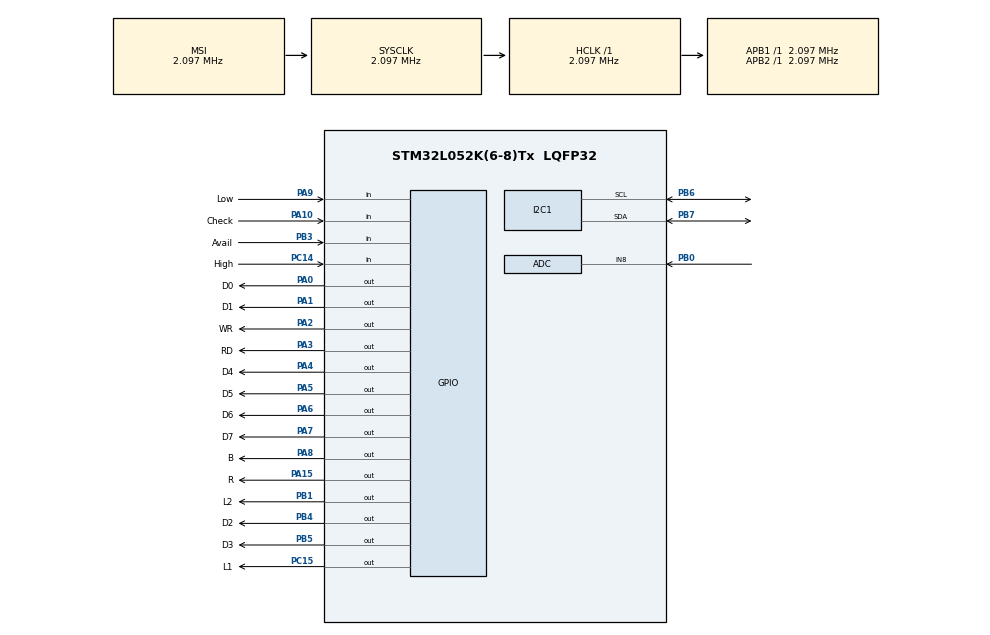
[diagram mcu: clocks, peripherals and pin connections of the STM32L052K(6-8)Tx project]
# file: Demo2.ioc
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ADC.ClockPrescaler=ADC_CLOCK_SYNC_PCLK_DIV1
ADC.ContinuousConvMode=DISABLE
ADC.DMAContinuousRequests=DISABLE
ADC.DataAlign=ADC_DATAALIGN_RIGHT
ADC.DiscontinuousConvMode=DISABLE
ADC.EOCSelection=ADC_EOC_SINGLE_CONV
ADC.EnableAnalogWatchDog=false
ADC.ExternalTrigConv=ADC_SOFTWARE_START
ADC.ExternalTrigConvEdge=ADC_EXTERNALTRIGCONVEDGE_NONE
ADC.LowPowerAutoPowerOff=DISABLE
ADC.LowPowerAutoWait=DISABLE
ADC.LowPowerFrequencyMode=DISABLE
ADC.Overrun=ADC_OVR_DATA_PRESERVED
ADC.OversamplingMode=DISABLE
ADC.Resolution=ADC_RESOLUTION_12B
ADC.SamplingTime=ADC_SAMPLETIME_1CYCLE_5
ADC.ScanConvMode=ADC_SCAN_DIRECTION_FORWARD
Mcu.Family=STM32L0
Mcu.Name=STM32L052K(6-8)Tx
Mcu.Package=LQFP32
PA0.GPIO_Label=D0
PA0.Signal=GPIO_Output
PA1.GPIO_Label=D1
PA1.Signal=GPIO_Output
PA10.GPIO_Label=Check
PA10.Signal=GPIO_Input
PA15.GPIO_Label=R
PA15.Signal=GPIO_Output
PA2.GPIO_Label=WR
PA2.Signal=GPIO_Output
PA3.GPIO_Label=RD
PA3.Signal=GPIO_Output
PA4.GPIO_Label=D4
PA4.Signal=GPIO_Output
PA5.GPIO_Label=D5
PA5.Signal=GPIO_Output
PA6.GPIO_Label=D6
PA6.Signal=GPIO_Output
PA7.GPIO_Label=D7
PA7.Signal=GPIO_Output
PA8.GPIO_Label=B
PA8.Signal=GPIO_Output
PA9.GPIO_Label=Low
PA9.Signal=GPIO_Input
PB0.Mode=IN8
PB0.Signal=ADC_IN8
PB1.GPIO_Label=L2
PB1.Signal=GPIO_Output
PB3.GPIO_Label=Avail
PB3.Signal=GPIO_Input
PB4.GPIO_Label=D2
PB4.Signal=GPIO_Output
PB5.GPIO_Label=D3
PB5.Signal=GPIO_Output
PB6.Mode=I2C
PB6.Signal=I2C1_SCL
PB7.Mode=I2C
PB7.Signal=I2C1_SDA
PC14-OSC32_IN.GPIO_Label=High
PC14-OSC32_IN.Signal=GPIO_Input
PC15-OSC32_OUT.GPIO_Label=L1
PC15-OSC32_OUT.Signal=GPIO_Output
ProjectManager.HeapSize=0x200
ProjectManager.StackSize=0x400
ProjectManager.TargetToolchain=MDK-ARM V5
RCC.AHBFreq_Value=2097000
RCC.APB1Freq_Value=2097000
RCC.APB1TimFreq_Value=2097000
RCC.APB2Freq_Value=2097000
RCC.APB2TimFreq_Value=2097000
RCC.HSI16_VALUE=16000000
RCC.HSI48_VALUE=48000000
RCC.HSI_VALUE=16000000
RCC.LSE_VALUE=32768
RCC.MSI_VALUE=2097000
RCC.SYSCLKFreq_VALUE=2097000
RCC.VCOOutputFreq_Value=48000000
board=Demo2

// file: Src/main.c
/**
  ******************************************************************************
  * File Name          : main.c
  * Description        : Main program body
  ******************************************************************************
  ** This notice applies to any and all portions of this file
  * that are not between comment pairs USER CODE BEGIN and
  * USER CODE END. Other portions of this file, whether
  * inserted by the user or by software development tools
  * are owned by their respective copyright owners.
  *
  * COPYRIGHT(c) 2017 STMicroelectronics
  *
  * Redistribution and use in source and binary forms, with or without modification,
  * are permitted provided that the following conditions are met:
  *   1. Redistributions of source code must retain the above copyright notice,
  *      this list of conditions and the following disclaimer.
  *   2. Redistributions in binary form must reproduce the above copyright notice,
  *      this list of conditions and the following disclaimer in the documentation
  *      and/or other materials provided with the distribution.
  *   3. Neither the name of STMicroelectronics nor the names of its contributors
  *      may be used to endorse or promote products derived from this software
  *      without specific prior written permission.
  *
  * THIS SOFTWARE IS PROVIDED BY THE COPYRIGHT HOLDERS AND CONTRIBUTORS "AS IS"
  * AND ANY EXPRESS OR IMPLIED WARRANTIES, INCLUDING, BUT NOT LIMITED TO, THE
  * IMPLIED WARRANTIES OF MERCHANTABILITY AND FITNESS FOR A PARTICULAR PURPOSE ARE
  * DISCLAIMED. IN NO EVENT SHALL THE COPYRIGHT HOLDER OR CONTRIBUTORS BE LIABLE
  * FOR ANY DIRECT, INDIRECT, INCIDENTAL, SPECIAL, EXEMPLARY, OR CONSEQUENTIAL
  * DAMAGES (INCLUDING, BUT NOT LIMITED TO, PROCUREMENT OF SUBSTITUTE GOODS OR
  * SERVICES; LOSS OF USE, DATA, OR PROFITS; OR BUSINESS INTERRUPTION) HOWEVER
  * CAUSED AND ON ANY THEORY OF LIABILITY, WHETHER IN CONTRACT, STRICT LIABILITY,
  * OR TORT (INCLUDING NEGLIGENCE OR OTHERWISE) ARISING IN ANY WAY OUT OF THE USE
  * OF THIS SOFTWARE, EVEN IF ADVISED OF THE POSSIBILITY OF SUCH DAMAGE.
  *
  ******************************************************************************
  */
#include "main.h"
#include "stm32l0xx_hal.h"

/* USER CODE BEGIN Includes */
#define NORITAKE_VFD_HEIGHT             64
#define NORITAKE_VFD_LINES              8

#define RTC_WRITE		(0xD0)
#define RTC_READ		(0xD1)

#define RTC_SEC			(0x00)
#define RTC_MIN			(0x01)
#define RTC_HOUR		(0x02)
#define RTC_DAY			(0x03)
#define RTC_DATE		(0x04)
#define RTC_MONTH		(0x05)
#define RTC_YEAR		(0x06)
#define RTC_CONTROL	(0x07)

typedef struct
{
  uint8_t sec;
  uint8_t min;
  uint8_t hour;
	unsigned char format;
	unsigned char ampm;
  uint8_t day;
  uint8_t date;
  uint8_t month;
  uint8_t year;
}rtc_t;
/* USER CODE END Includes */

ADC_HandleTypeDef hadc;

I2C_HandleTypeDef hi2c1;

/* USER CODE BEGIN PV */
/* Private variables ---------------------------------------------------------*/
rtc_t DS1307;
/* USER CODE END PV */

void SystemClock_Config(void);
static void MX_GPIO_Init(void);
static void MX_I2C1_Init(void);
static void MX_ADC_Init(void);

/* USER CODE BEGIN PFP */
/* Private function prototypes -----------------------------------------------*/

void VFD_init(void);
void VFD_writePort(uint8_t);
void VFD_cmd(uint8_t);
void VFD_writeLine(char*);
void VFD_write(uint8_t);
void VFD_drawImageRom(unsigned, unsigned char, const unsigned char*);
void VFD_moveCursor(unsigned char, unsigned char);
void VFD_clrscr(void);
void VFD_home(void);
void VFD_scrollScreen(unsigned, unsigned, unsigned, unsigned char);

unsigned char RTC_get_SEC(void);
unsigned char RTC_get_MIN(void);
unsigned char RTC_get_HOUR(void);

unsigned char RTC_get_FORMAT(void);
unsigned char RTC_get_AMPM(void);

unsigned char RTC_get_DAY(void);
unsigned char RTC_get_DATE(void);
unsigned char RTC_get_MONTH(void);
unsigned char RTC_get_YEAR(void);
void RTC_init(void);

void RTC_set_SEC(uint8_t);
void RTC_set_MIN(uint8_t);
void RTC_set_HOUR(uint8_t, unsigned char, unsigned char);
void RTC_set_AMPM(unsigned char);
void RTC_set_DAY(uint8_t);
void RTC_set_DATE(uint8_t);
void RTC_set_MONTH(uint8_t);
void RTC_set_YEAR(uint8_t);

void RTC_i2c_write(I2C_HandleTypeDef *hi2c, uint16_t DevAddress, uint8_t MemAddress, uint8_t *pData);
void RTC_i2c_read(I2C_HandleTypeDef *hi2c, uint16_t DevAddress, uint8_t MemAddress, uint8_t *pData);

void project_displayTime(void);
void project_displayDay(void);
void project_displayDate(void);
/* USER CODE END PFP */

/* USER CODE BEGIN 0 */
unsigned char img[1024]=
{
	0x00, 0x00, 0x00, 0x00, 0x00, 0x00, 0x00, 0xFF, //                                                         ########
	0x00, 0x00, 0x00, 0x00, 0x00, 0x00, 0x00, 0xFF, //                                                         ########
	0x00, 0x00, 0x00, 0x00, 0x00, 0x00, 0x00, 0xFF, //                                                         ########
	0x00, 0x00, 0x00, 0x00, 0x00, 0x00, 0x00, 0xFF, //                                                         ########
	0x00, 0x00, 0x00, 0x00, 0x00, 0x00, 0x00, 0xFF, //                                                         ########
	0x00, 0x00, 0x00, 0x00, 0x00, 0x00, 0x00, 0xFF, //                                                         ########
	0x00, 0x00, 0x00, 0x00, 0x00, 0x00, 0x00, 0xFF, //                                                         ########
	0x00, 0x00, 0x00, 0x00, 0x00, 0x00, 0x00, 0xFF, //                                                         ########
	0x00, 0x00, 0x00, 0x00, 0x00, 0x00, 0x00, 0xFF, //                                                         ########
	0x00, 0x00, 0x00, 0x00, 0x00, 0x00, 0x00, 0xFF, //                                                         ########
	0x00, 0x00, 0x00, 0x00, 0x00, 0x00, 0x00, 0xFF, //                                                         ########
	0x00, 0x00, 0x00, 0x00, 0x00, 0x00, 0x00, 0xFF, //                                                         ########
	0x00, 0x00, 0x00, 0x00, 0x00, 0x00, 0x00, 0xFF, //                                                         ########
	0x00, 0x00, 0x00, 0x00, 0x00, 0x00, 0x00, 0xFF, //                                                         ########
	0x00, 0x00, 0x00, 0x00, 0x00, 0x00, 0x00, 0xFF, //                                                         ########
	0x00, 0x00, 0x00, 0x00, 0x00, 0x00, 0x00, 0xFF, //                                                         ########
	0x00, 0x00, 0x00, 0x00, 0x00, 0x00, 0x00, 0xFF, //                                                         ########
	0x00, 0x00, 0x00, 0x00, 0x00, 0x00, 0x00, 0xFF, //                                                         ########
	0x00, 0x00, 0x00, 0x00, 0x00, 0x00, 0x00, 0xFF, //                                                         ########
	0x00, 0x00, 0x00, 0x00, 0x00, 0x00, 0x00, 0xFF, //                                                         ########
	0x00, 0x00, 0x00, 0x00, 0x00, 0x02, 0x00, 0xFF, //                                               #         ########
	0x00, 0x00, 0x00, 0x00, 0x00, 0x03, 0xC0, 0xFF, //                                               ####      ########
	0x00, 0x00, 0x00, 0x00, 0x00, 0x00, 0x78, 0xFF, //                                                  ####   ########
	0x00, 0x00, 0x00, 0x00, 0x00, 0x00, 0x07, 0xFF, //                                                      ###########
	0x00, 0x00, 0x00, 0x00, 0x00, 0x00, 0x03, 0xFF, //                                                       ##########
	0x00, 0x00, 0x00, 0x00, 0x00, 0x00, 0x3C, 0xFF, //                                                   ####  ########
	0x00, 0x00, 0x00, 0x00, 0x00, 0x01, 0xE0, 0xFF, //                                                ####     ########
	0x00, 0x00, 0x00, 0x00, 0x00, 0x03, 0x00, 0xFF, //                                               ##        ########
	0x00, 0x00, 0x00, 0x00, 0x00, 0x03, 0x80, 0xFF, //                                               ###       ########
	0x00, 0x00, 0x00, 0x00, 0x00, 0x00, 0x70, 0xFF, //                                                  ###    ########
	0x00, 0x00, 0x00, 0x00, 0x00, 0x00, 0x0F, 0xFF, //                                                     ############
	0x00, 0x00, 0x00, 0x00, 0x00, 0x00, 0x03, 0xFF, //                                                       ##########
	0x00, 0x00, 0x00, 0x00, 0x00, 0x00, 0x1E, 0xFF, //                                                    #### ########
	0x00, 0x00, 0x00, 0x00, 0x00, 0x00, 0xF0, 0xFF, //                                                 ####    ########
	0x00, 0x00, 0x00, 0x00, 0x00, 0x03, 0x80, 0xFF, //                                               ###       ########
	0x00, 0x00, 0x00, 0x00, 0x00, 0x00, 0x20, 0xFF, //                                                   #     ########
	0x00, 0x00, 0x00, 0x00, 0x00, 0x01, 0xFC, 0xFF, //                                                #######  ########
	0x00, 0x00, 0x00, 0x00, 0x00, 0x03, 0x06, 0xFF, //                                               ##     ## ########
	0x00, 0x00, 0x00, 0x00, 0x00, 0x02, 0x03, 0xFF, //                                               #       ##########
	0x00, 0x00, 0x00, 0x00, 0x00, 0x06, 0x01, 0xFF, //                                              ##        #########
	0x00, 0x00, 0x00, 0x00, 0x00, 0x06, 0x01, 0xFF, //                                              ##        #########
	0x00, 0x00, 0x00, 0x00, 0x00, 0x02, 0x01, 0xFF, //                                               #        #########
	0x00, 0x00, 0x00, 0x00, 0x00, 0x02, 0x03, 0xFF, //                                               #       ##########
	0x00, 0x00, 0x00, 0x00, 0x00, 0x01, 0x8E, 0xFF, //                                                ##   ### ########
	0x00, 0x00, 0x00, 0x00, 0x00, 0x00, 0xFC, 0xFF, //                                                 ######  ########
	0x00, 0x00, 0x00, 0x00, 0x00, 0x00, 0x00, 0xFF, //                                                         ########
	0x00, 0x00, 0x00, 0x00, 0x00, 0x00, 0x00, 0xFF, //                                                         ########
	0x00, 0x00, 0x00, 0x00, 0x00, 0x03, 0xFF, 0xFF, //                                               ##################
	0x00, 0x00, 0x00, 0x00, 0x00, 0x03, 0x00, 0xFF, //                                               ##        ########
	0x00, 0x00, 0x00, 0x00, 0x00, 0x02, 0x00, 0xFF, //                                               #         ########
	0x00, 0x00, 0x00, 0x00, 0x00, 0x06, 0x00, 0xFF, //                                              ##         ########
	0x00, 0x00, 0x00, 0x00, 0x00, 0x00, 0x00, 0xFF, //                                                         ########
	0x00, 0x00, 0x00, 0x00, 0x00, 0x00, 0x00, 0xFF, //                                                         ########
	0x00, 0x00, 0x00, 0x00, 0x00, 0x7F, 0xFF, 0xFF, //                                          #######################
	0x00, 0x00, 0x00, 0x00, 0x00, 0x00, 0x00, 0xFF, //                                                         ########
	0x00, 0x00, 0x00, 0x00, 0x00, 0x00, 0xF8, 0xFF, //                                                 #####   ########
	0x00, 0x00, 0x00, 0x00, 0x00, 0x01, 0xFE, 0xFF, //                                                ######## ########
	0x00, 0x00, 0x00, 0x00, 0x00, 0x02, 0x03, 0xFF, //                                               #       ##########
	0x00, 0x00, 0x00, 0x00, 0x00, 0x06, 0x01, 0xFF, //                                              ##        #########
	0x00, 0x00, 0x00, 0x00, 0x00, 0x04, 0x01, 0xFF, //                                              #         #########
	0x00, 0x00, 0x00, 0x00, 0x00, 0x02, 0x01, 0xFF, //                                               #        #########
	0x00, 0x00, 0x00, 0x00, 0x00, 0x02, 0x03, 0xFF, //                                               #       ##########
	0x00, 0x00, 0x00, 0x00, 0x00, 0x01, 0x8E, 0xFF, //                                                ##   ### ########
	0x00, 0x00, 0x00, 0x00, 0x00, 0x7F, 0xFF, 0xFF, //                                          #######################
	0x00, 0x00, 0x00, 0x00, 0x00, 0x00, 0x00, 0xFF, //                                                         ########
	0x00, 0x00, 0x00, 0x00, 0x00, 0x00, 0x00, 0xFF, //                                                         ########
	0x00, 0x00, 0x00, 0x00, 0x00, 0x00, 0x00, 0xFF, //                                                         ########
	0x00, 0x00, 0x00, 0x00, 0x00, 0x00, 0x00, 0xFF, //                                                         ########
	0x00, 0x00, 0x00, 0x00, 0x00, 0x03, 0xE3, 0xFF, //                                               #####   ##########
	0x00, 0x00, 0x00, 0x00, 0x00, 0x03, 0xE3, 0xFF, //                                               #####   ##########
	0x00, 0x00, 0x00, 0x00, 0x00, 0x07, 0x63, 0xFF, //                                              ### ##   ##########
	0x00, 0x00, 0x00, 0x00, 0x00, 0x06, 0x73, 0xFF, //                                              ##  ###  ##########
	0x00, 0x01, 0x00, 0x00, 0x00, 0x06, 0x3F, 0xFF, //                #                             ##   ##############
	0x00, 0x0F, 0x80, 0x00, 0x00, 0x06, 0x3E, 0xFF, //             #####                            ##   ##### ########
	0x00, 0x0F, 0x80, 0x00, 0x00, 0x02, 0x1C, 0xFF, //             #####                             #    ###  ########
	0x00, 0x07, 0x80, 0x00, 0x00, 0x00, 0x00, 0xFF, //              ####                                       ########
	0x00, 0x07, 0xC0, 0x10, 0x00, 0x7F, 0xFF, 0xFF, //              #####         #             #######################
	0x00, 0x03, 0xC0, 0x38, 0x00, 0x7F, 0xFF, 0xFF, //               ####        ###            #######################
	0x00, 0x03, 0xC0, 0x3C, 0x00, 0xFF, 0xFF, 0xFF, //               ####        ####          ########################
	0x00, 0x01, 0xE0, 0x1E, 0x00, 0x00, 0x60, 0xFF, //                ####        ####                  ##     ########
	0x80, 0x01, 0xE0, 0x0F, 0x00, 0x00, 0xF8, 0xFF, // #              ####         ####                #####   ########
	0x80, 0x00, 0xF0, 0x07, 0x80, 0x01, 0xFC, 0xFF, // #               ####         ####              #######  ########
	0xC0, 0x00, 0xF8, 0x03, 0xC0, 0x03, 0x9F, 0xFF, // ##              #####         ####            ###  #############
	0xE0, 0x00, 0x38, 0x01, 0xC0, 0x07, 0x0F, 0xFF, // ###               ###          ###           ###    ############
	0xF0, 0x00, 0x3C, 0x00, 0xE0, 0x06, 0x03, 0xFF, // ####              ####          ###          ##       ##########
	0xF8, 0x00, 0x1E, 0x00, 0xE0, 0x00, 0x01, 0xFF, // #####              ####         ###                    #########
	0xFE, 0x00, 0x0F, 0x00, 0x70, 0x00, 0x00, 0xFF, // #######             ####         ###                    ########
	0xFF, 0x00, 0x0F, 0x80, 0x30, 0x63, 0xFF, 0xFF, // ########            #####         ##     ##   ##################
	0xFF, 0x80, 0x03, 0xE0, 0x28, 0xE7, 0xFF, 0xFF, // #########             #####       # #   ###  ###################
	0xFF, 0xE0, 0x01, 0xF0, 0x18, 0xE7, 0xFF, 0xFF, // ###########            #####       ##   ###  ###################
	0x3F, 0xF0, 0x00, 0xCC, 0x00, 0x00, 0x00, 0xFF, //   ##########            ##  ##                          ########
	0x1F, 0xF0, 0x00, 0x33, 0x00, 0x00, 0x00, 0xFF, //    #########              ##  ##                        ########
	0x07, 0xF0, 0x00, 0x0C, 0x60, 0x7F, 0xFF, 0xFF, //      #######                ##   ##      #######################
	0x01, 0xF0, 0x08, 0x00, 0x00, 0xFF, 0xFF, 0xFF, //        #####        #                   ########################
	0x00, 0x70, 0x07, 0xC0, 0x00, 0x00, 0x00, 0xFF, //          ###         #####                              ########
	0x40, 0x08, 0x07, 0xFF, 0x00, 0x00, 0x00, 0xFF, //  #          #        ###########                        ########
	0xE0, 0x00, 0x00, 0x7F, 0xC0, 0x7F, 0xFF, 0xFF, // ###                      #########       #######################
	0xF0, 0x00, 0x07, 0x80, 0x00, 0xFF, 0xFF, 0xFF, // ####                 ####               ########################
	0xFC, 0x00, 0x03, 0xFF, 0xF0, 0xFF, 0xFF, 0xFF, // ######                ##############    ########################
	0xFE, 0x00, 0x00, 0x00, 0x00, 0x00, 0x00, 0xFF, // #######                                                 ########
	0xFF, 0x80, 0x00, 0x00, 0x00, 0x01, 0xC3, 0xFF, // #########                                      ###    ##########
	0xFF, 0xE0, 0x00, 0x00, 0xE0, 0x03, 0xE3, 0xFF, // ###########                     ###           #####   ##########
	0x7F, 0xFE, 0x00, 0x0F, 0x90, 0x07, 0xE3, 0xFF, //  ##############             #####  #         ######   ##########
	0x1F, 0xFF, 0x00, 0xFC, 0x60, 0x07, 0x73, 0xFF, //    #############        ######   ##          ### ###  ##########
	0x07, 0xFF, 0x80, 0x61, 0x80, 0x06, 0x73, 0xFF, //      ############        ##    ##            ##  ###  ##########
	0x01, 0xFF, 0x80, 0x3C, 0x00, 0x06, 0x3F, 0xFF, //        ##########         ####               ##   ##############
	0x00, 0x3F, 0xC0, 0x00, 0x00, 0x07, 0x3E, 0xFF, //           ########                           ###  ##### ########
	0x00, 0x00, 0x00, 0x00, 0x00, 0x00, 0x1C, 0xFF, //                                                    ###  ########
	0x00, 0x00, 0x00, 0x00, 0x00, 0x00, 0x00, 0xFF, //                                                         ########
	0x00, 0x00, 0x00, 0x00, 0x00, 0x00, 0x00, 0xFF, //                                                         ########
	0x00, 0x00, 0x00, 0x00, 0x00, 0x00, 0x00, 0xFF, //                                                         ########
	0x00, 0x00, 0x00, 0x00, 0x00, 0x00, 0x00, 0xFF, //                                                         ########
	0x00, 0x00, 0x00, 0x00, 0x00, 0x00, 0x00, 0xFF, //                                                         ########
	0x00, 0x00, 0x00, 0x00, 0x00, 0x00, 0x00, 0xFF, //                                                         ########
	0x00, 0x00, 0x00, 0x00, 0x00, 0x00, 0x00, 0xFF, //                                                         ########
	0x00, 0x00, 0x00, 0x00, 0x00, 0x00, 0x00, 0xFF, //                                                         ########
	0x00, 0x00, 0x00, 0x00, 0x00, 0x00, 0x00, 0xFF, //                                                         ########
	0x00, 0x00, 0x00, 0x00, 0x00, 0x00, 0x00, 0xFF, //                                                         ########
	0x00, 0x00, 0x00, 0x00, 0x00, 0x00, 0x00, 0xFF, //                                                         ########
	0x00, 0x00, 0x00, 0x00, 0x00, 0x00, 0x00, 0xFF, //                                                         ########
	0x00, 0x00, 0x00, 0x00, 0x00, 0x00, 0x00, 0xFF, //                                                         ########
	0x00, 0x00, 0x00, 0x00, 0x00, 0x00, 0x00, 0xFF, //                                                         ########
	0x00, 0x00, 0x00, 0x00, 0x00, 0x00, 0x00, 0xFF, //                                                         ########
	0x00, 0x00, 0x00, 0x00, 0x00, 0x00, 0x00, 0xFF, //                                                         ########
	0x00, 0x00, 0x00, 0x00, 0x00, 0x00, 0x00, 0xFF, //                                                         ########
	0x00, 0x00, 0x00, 0x00, 0x00, 0x00, 0x00, 0xFF, //                                                         ########
	0x00, 0x00, 0x00, 0x00, 0x00, 0x00, 0x00, 0xFF, //                                                         ########
	0x00, 0x00, 0x00, 0x00, 0x00, 0x00, 0x00, 0xFF, //                                                         ########
};

/* USER CODE END 0 */

int main(void)
{

  /* MCU Configuration----------------------------------------------------------*/

  /* Reset of all peripherals, Initializes the Flash interface and the Systick. */
  HAL_Init();

  /* Configure the system clock */
  SystemClock_Config();

  /* Initialize all configured peripherals */
  MX_GPIO_Init();
  MX_I2C1_Init();
  MX_ADC_Init();

  /* USER CODE BEGIN 2 */
	VFD_init();
	VFD_clrscr();

	RTC_init();
	RTC_set_HOUR(11,'1','2'); //1 12 hour 2 24 hour //1 am 2 pm
	RTC_set_MIN(59);
	RTC_set_SEC(00);
	RTC_set_DAY(2);
	RTC_set_DATE(19);
	RTC_set_MONTH(9);
	RTC_set_YEAR(17);
	int cx=49,cy=12;

	VFD_drawImageRom(128,64,img);		//center
	HAL_Delay(4000);

	VFD_clrscr();

	int temp;

  /* USER CODE END 2 */

  /* Infinite loop */
  /* USER CODE BEGIN WHILE */
  while (1)
  {
		VFD_moveCursor(0,0);
		project_displayTime();
		VFD_moveCursor(0,8);
		project_displayDay();
		VFD_moveCursor(0,16);
		project_displayDate();
		VFD_moveCursor(0,24);

		HAL_ADC_Start(&hadc);
		HAL_ADC_PollForConversion(&hadc, HAL_MAX_DELAY);
		temp = HAL_ADC_GetValue(&hadc);
		HAL_ADC_Stop(&hadc);

		VFD_writeLine("ADC Value: ");
		VFD_write( ( ( temp / 1000)	% 10) + '0' );
		VFD_write( ( ( temp / 100)	% 10) + '0' );
		VFD_write( ( ( temp / 10)		% 10) + '0' );
		VFD_write( ( ( temp / 1)		% 10) + '0' );
		VFD_home();

		if(HAL_GPIO_ReadPin(Check_GPIO_Port, Check_Pin) == GPIO_PIN_RESET)
			HAL_GPIO_WritePin(L1_GPIO_Port, L1_Pin, GPIO_PIN_SET);
		else if(HAL_GPIO_ReadPin(Check_GPIO_Port, Check_Pin) == GPIO_PIN_SET)
			HAL_GPIO_WritePin(L1_GPIO_Port, L1_Pin, GPIO_PIN_RESET);
		if(HAL_GPIO_ReadPin(Avail_GPIO_Port, Avail_Pin) == GPIO_PIN_RESET)
			HAL_GPIO_WritePin(L2_GPIO_Port, L2_Pin, GPIO_PIN_SET);
		else if(HAL_GPIO_ReadPin(Avail_GPIO_Port, Avail_Pin) == GPIO_PIN_SET)
			HAL_GPIO_WritePin(L2_GPIO_Port, L2_Pin, GPIO_PIN_RESET);

		if(HAL_GPIO_ReadPin(High_GPIO_Port, High_Pin) == GPIO_PIN_SET)
			HAL_GPIO_WritePin(B_GPIO_Port, B_Pin, GPIO_PIN_RESET);
		else if(HAL_GPIO_ReadPin(High_GPIO_Port, High_Pin) == GPIO_PIN_RESET)
			HAL_GPIO_WritePin(B_GPIO_Port, B_Pin, GPIO_PIN_SET);
		if(HAL_GPIO_ReadPin(Low_GPIO_Port, Low_Pin) == GPIO_PIN_SET)
			HAL_GPIO_WritePin(R_GPIO_Port, R_Pin, GPIO_PIN_RESET);
		else if(HAL_GPIO_ReadPin(Low_GPIO_Port, Low_Pin) == GPIO_PIN_RESET)
			HAL_GPIO_WritePin(R_GPIO_Port, R_Pin, GPIO_PIN_SET);

  /* USER CODE END WHILE */

	}

}

/** System Clock Configuration
*/
void SystemClock_Config(void)
{

  RCC_OscInitTypeDef RCC_OscInitStruct;
  RCC_ClkInitTypeDef RCC_ClkInitStruct;
  RCC_PeriphCLKInitTypeDef PeriphClkInit;

    /**Configure the main internal regulator output voltage
    */
  __HAL_PWR_VOLTAGESCALING_CONFIG(PWR_REGULATOR_VOLTAGE_SCALE1);

    /**Initializes the CPU, AHB and APB busses clocks
    */
  RCC_OscInitStruct.OscillatorType = RCC_OSCILLATORTYPE_MSI;
  RCC_OscInitStruct.MSIState = RCC_MSI_ON;
  RCC_OscInitStruct.MSICalibrationValue = 0;
  RCC_OscInitStruct.MSIClockRange = RCC_MSIRANGE_5;
  RCC_OscInitStruct.PLL.PLLState = RCC_PLL_NONE;
  if (HAL_RCC_OscConfig(&RCC_OscInitStruct) != HAL_OK)
  {
    _Error_Handler(__FILE__, __LINE__);
  }

    /**Initializes the CPU, AHB and APB busses clocks
    */
  RCC_ClkInitStruct.ClockType = RCC_CLOCKTYPE_HCLK|RCC_CLOCKTYPE_SYSCLK
                              |RCC_CLOCKTYPE_PCLK1|RCC_CLOCKTYPE_PCLK2;
  RCC_ClkInitStruct.SYSCLKSource = RCC_SYSCLKSOURCE_MSI;
  RCC_ClkInitStruct.AHBCLKDivider = RCC_SYSCLK_DIV1;
  RCC_ClkInitStruct.APB1CLKDivider = RCC_HCLK_DIV1;
  RCC_ClkInitStruct.APB2CLKDivider = RCC_HCLK_DIV1;

  if (HAL_RCC_ClockConfig(&RCC_ClkInitStruct, FLASH_LATENCY_0) != HAL_OK)
  {
    _Error_Handler(__FILE__, __LINE__);
  }

  PeriphClkInit.PeriphClockSelection = RCC_PERIPHCLK_I2C1;
  PeriphClkInit.I2c1ClockSelection = RCC_I2C1CLKSOURCE_PCLK1;
  if (HAL_RCCEx_PeriphCLKConfig(&PeriphClkInit) != HAL_OK)
  {
    _Error_Handler(__FILE__, __LINE__);
  }

    /**Configure the Systick interrupt time
    */
  HAL_SYSTICK_Config(HAL_RCC_GetHCLKFreq()/1000);

    /**Configure the Systick
    */
  HAL_SYSTICK_CLKSourceConfig(SYSTICK_CLKSOURCE_HCLK);

  /* SysTick_IRQn interrupt configuration */
  HAL_NVIC_SetPriority(SysTick_IRQn, 0, 0);
}

/* ADC init function */
static void MX_ADC_Init(void)
{

  ADC_ChannelConfTypeDef sConfig;

    /**Configure the global features of the ADC (Clock, Resolution, Data Alignment and number of conversion)
    */
  hadc.Instance = ADC1;
  hadc.Init.OversamplingMode = DISABLE;
  hadc.Init.ClockPrescaler = ADC_CLOCK_SYNC_PCLK_DIV1;
  hadc.Init.Resolution = ADC_RESOLUTION_12B;
  hadc.Init.SamplingTime = ADC_SAMPLETIME_1CYCLE_5;
  hadc.Init.ScanConvMode = ADC_SCAN_DIRECTION_FORWARD;
  hadc.Init.DataAlign = ADC_DATAALIGN_RIGHT;
  hadc.Init.ContinuousConvMode = DISABLE;
  hadc.Init.DiscontinuousConvMode = DISABLE;
  hadc.Init.ExternalTrigConvEdge = ADC_EXTERNALTRIGCONVEDGE_NONE;
  hadc.Init.ExternalTrigConv = ADC_SOFTWARE_START;
  hadc.Init.DMAContinuousRequests = DISABLE;
  hadc.Init.EOCSelection = ADC_EOC_SINGLE_CONV;
  hadc.Init.Overrun = ADC_OVR_DATA_PRESERVED;
  hadc.Init.LowPowerAutoWait = DISABLE;
  hadc.Init.LowPowerFrequencyMode = DISABLE;
  hadc.Init.LowPowerAutoPowerOff = DISABLE;
  if (HAL_ADC_Init(&hadc) != HAL_OK)
  {
    _Error_Handler(__FILE__, __LINE__);
  }

    /**Configure for the selected ADC regular channel to be converted.
    */
  sConfig.Channel = ADC_CHANNEL_8;
  sConfig.Rank = ADC_RANK_CHANNEL_NUMBER;
  if (HAL_ADC_ConfigChannel(&hadc, &sConfig) != HAL_OK)
  {
    _Error_Handler(__FILE__, __LINE__);
  }

}

/* I2C1 init function */
static void MX_I2C1_Init(void)
{

  hi2c1.Instance = I2C1;
  hi2c1.Init.Timing = 0x00000708;
  hi2c1.Init.OwnAddress1 = 0;
  hi2c1.Init.AddressingMode = I2C_ADDRESSINGMODE_7BIT;
  hi2c1.Init.DualAddressMode = I2C_DUALADDRESS_DISABLE;
  hi2c1.Init.OwnAddress2 = 0;
  hi2c1.Init.OwnAddress2Masks = I2C_OA2_NOMASK;
  hi2c1.Init.GeneralCallMode = I2C_GENERALCALL_DISABLE;
  hi2c1.Init.NoStretchMode = I2C_NOSTRETCH_DISABLE;
  if (HAL_I2C_Init(&hi2c1) != HAL_OK)
  {
    _Error_Handler(__FILE__, __LINE__);
  }

    /**Configure Analogue filter
    */
  if (HAL_I2CEx_ConfigAnalogFilter(&hi2c1, I2C_ANALOGFILTER_ENABLE) != HAL_OK)
  {
    _Error_Handler(__FILE__, __LINE__);
  }

    /**Configure Digital filter
    */
  if (HAL_I2CEx_ConfigDigitalFilter(&hi2c1, 0) != HAL_OK)
  {
    _Error_Handler(__FILE__, __LINE__);
  }

}

/** Configure pins as
        * Analog
        * Input
        * Output
        * EVENT_OUT
        * EXTI
*/
static void MX_GPIO_Init(void)
{

  GPIO_InitTypeDef GPIO_InitStruct;

  /* GPIO Ports Clock Enable */
  __HAL_RCC_GPIOC_CLK_ENABLE();
  __HAL_RCC_GPIOA_CLK_ENABLE();
  __HAL_RCC_GPIOB_CLK_ENABLE();

  /*Configure GPIO pin Output Level */
  HAL_GPIO_WritePin(L1_GPIO_Port, L1_Pin, GPIO_PIN_RESET);

  /*Configure GPIO pin Output Level */
  HAL_GPIO_WritePin(GPIOA, D0_Pin|D1_Pin|WR_Pin|RD_Pin
                          |D4_Pin|D5_Pin|D6_Pin|D7_Pin
                          |B_Pin|R_Pin, GPIO_PIN_RESET);

  /*Configure GPIO pin Output Level */
  HAL_GPIO_WritePin(GPIOB, L2_Pin|D2_Pin|D3_Pin, GPIO_PIN_RESET);

  /*Configure GPIO pin : High_Pin */
  GPIO_InitStruct.Pin = High_Pin;
  GPIO_InitStruct.Mode = GPIO_MODE_INPUT;
  GPIO_InitStruct.Pull = GPIO_NOPULL;
  HAL_GPIO_Init(High_GPIO_Port, &GPIO_InitStruct);

  /*Configure GPIO pin : L1_Pin */
  GPIO_InitStruct.Pin = L1_Pin;
  GPIO_InitStruct.Mode = GPIO_MODE_OUTPUT_PP;
  GPIO_InitStruct.Pull = GPIO_NOPULL;
  GPIO_InitStruct.Speed = GPIO_SPEED_FREQ_LOW;
  HAL_GPIO_Init(L1_GPIO_Port, &GPIO_InitStruct);

  /*Configure GPIO pins : D0_Pin D1_Pin WR_Pin RD_Pin
                           D4_Pin D5_Pin D6_Pin D7_Pin
                           B_Pin R_Pin */
  GPIO_InitStruct.Pin = D0_Pin|D1_Pin|WR_Pin|RD_Pin
                          |D4_Pin|D5_Pin|D6_Pin|D7_Pin
                          |B_Pin|R_Pin;
  GPIO_InitStruct.Mode = GPIO_MODE_OUTPUT_PP;
  GPIO_InitStruct.Pull = GPIO_NOPULL;
  GPIO_InitStruct.Speed = GPIO_SPEED_FREQ_LOW;
  HAL_GPIO_Init(GPIOA, &GPIO_InitStruct);

  /*Configure GPIO pins : L2_Pin D2_Pin D3_Pin */
  GPIO_InitStruct.Pin = L2_Pin|D2_Pin|D3_Pin;
  GPIO_InitStruct.Mode = GPIO_MODE_OUTPUT_PP;
  GPIO_InitStruct.Pull = GPIO_NOPULL;
  GPIO_InitStruct.Speed = GPIO_SPEED_FREQ_LOW;
  HAL_GPIO_Init(GPIOB, &GPIO_InitStruct);

  /*Configure GPIO pins : Low_Pin Check_Pin */
  GPIO_InitStruct.Pin = Low_Pin|Check_Pin;
  GPIO_InitStruct.Mode = GPIO_MODE_INPUT;
  GPIO_InitStruct.Pull = GPIO_NOPULL;
  HAL_GPIO_Init(GPIOA, &GPIO_InitStruct);

  /*Configure GPIO pin : Avail_Pin */
  GPIO_InitStruct.Pin = Avail_Pin;
  GPIO_InitStruct.Mode = GPIO_MODE_INPUT;
  GPIO_InitStruct.Pull = GPIO_NOPULL;
  HAL_GPIO_Init(Avail_GPIO_Port, &GPIO_InitStruct);

}

/* USER CODE BEGIN 4 */
void VFD_writeLine(char* data)
{
	int i=0;
	while(data[i]!='\0')
	{
		VFD_cmd(data[i++]);
	}
}

void VFD_init(void)
{
	VFD_cmd(0x1B);
	VFD_cmd('@');
}

void VFD_writePort(uint8_t data)
{

	HAL_GPIO_WritePin(D7_GPIO_Port, D7_Pin, (data/128)%2?GPIO_PIN_SET:GPIO_PIN_RESET);
	HAL_GPIO_WritePin(D6_GPIO_Port, D6_Pin, (data/64)%2?GPIO_PIN_SET:GPIO_PIN_RESET);
	HAL_GPIO_WritePin(D5_GPIO_Port, D5_Pin, (data/32)%2?GPIO_PIN_SET:GPIO_PIN_RESET);
	HAL_GPIO_WritePin(D4_GPIO_Port, D4_Pin, (data/16)%2?GPIO_PIN_SET:GPIO_PIN_RESET);
	HAL_GPIO_WritePin(D3_GPIO_Port, D3_Pin, (data/8)%2?GPIO_PIN_SET:GPIO_PIN_RESET);
	HAL_GPIO_WritePin(D2_GPIO_Port, D2_Pin, (data/4)%2?GPIO_PIN_SET:GPIO_PIN_RESET);
	HAL_GPIO_WritePin(D1_GPIO_Port, D1_Pin, (data/2)%2?GPIO_PIN_SET:GPIO_PIN_RESET);
	HAL_GPIO_WritePin(D0_GPIO_Port, D0_Pin, (data/1)%2?GPIO_PIN_SET:GPIO_PIN_RESET);
}

void VFD_cmd(uint8_t data)
{
	unsigned char ok;
	GPIO_InitTypeDef GPIO_InitStruct1;
	/*GPIOB-11 SET AS INPUT*/
	GPIO_InitStruct1.Pin = D7_Pin;
  GPIO_InitStruct1.Mode = GPIO_MODE_INPUT;
  GPIO_InitStruct1.Pull = GPIO_NOPULL;
  HAL_GPIO_Init(D7_GPIO_Port, &GPIO_InitStruct1);

	do
	{
		HAL_GPIO_WritePin(RD_GPIO_Port,RD_Pin,GPIO_PIN_RESET);
		ok=HAL_GPIO_ReadPin(D7_GPIO_Port,D7_Pin);
		HAL_GPIO_WritePin(RD_GPIO_Port,RD_Pin,GPIO_PIN_SET);
	}while(ok);

	GPIO_InitStruct1.Pin =  D7_Pin;
  GPIO_InitStruct1.Mode = GPIO_MODE_OUTPUT_PP;
  GPIO_InitStruct1.Pull = GPIO_NOPULL;
  GPIO_InitStruct1.Speed = GPIO_SPEED_FREQ_LOW;
  HAL_GPIO_Init(D7_GPIO_Port, &GPIO_InitStruct1);

	VFD_writePort(data);

	HAL_GPIO_WritePin(WR_GPIO_Port,WR_Pin,GPIO_PIN_RESET);
	HAL_GPIO_WritePin(WR_GPIO_Port,WR_Pin,GPIO_PIN_SET);
}

void VFD_clrscr(void)
{
	VFD_cmd(0x0C);
}

void VFD_home(void)
{
	VFD_cmd(0x0B);
}

void VFD_write(uint8_t data)
{
	VFD_cmd(data);
}
void VFD_scrollScreen(unsigned x, unsigned y, unsigned times, unsigned char speed)
{
    unsigned pos = (x*NORITAKE_VFD_LINES)+(y/8);
    VFD_cmd(0x1F);
		VFD_cmd(0x28);
		VFD_cmd('a');
		VFD_cmd(0x10);
    VFD_cmd(pos);
    VFD_cmd(pos>>8);
    VFD_cmd(times);
    VFD_cmd(times>>8);
    VFD_cmd(speed);
}

void VFD_drawImageRom(unsigned width, unsigned char height, const unsigned char *data)
{
    unsigned int i;
    if (height > NORITAKE_VFD_HEIGHT) return;
    VFD_cmd(0x1F);
		VFD_cmd(0x28);
		VFD_cmd(0x66);
		VFD_cmd(0x11);
    VFD_cmd(width);
    VFD_cmd(width>>8);
    VFD_cmd(height/8);
    VFD_cmd((unsigned char) 0);
    VFD_cmd((unsigned char) 1);
    for ( i = 0; i<(height/8)*width; i++)
        VFD_cmd(data[i]);
}

void VFD_moveCursor(unsigned char x, unsigned char y)
{
		VFD_cmd(0x1f);
    VFD_cmd('$');
    VFD_cmd(x);
    VFD_cmd(x>>8);
    VFD_cmd(y/8);
    VFD_cmd(y/8>>8);
}

void RTC_i2c_read(I2C_HandleTypeDef *hi2c, uint16_t DevAddress, uint8_t MemAddress, uint8_t *pData)
{
  HAL_I2C_Mem_Read(hi2c, DevAddress, MemAddress, 1, pData, 1, HAL_MAX_DELAY);
}

void RTC_i2c_write(I2C_HandleTypeDef *hi2c, uint16_t DevAddress, uint8_t MemAddress, uint8_t *pData)
{
  HAL_I2C_Mem_Write(hi2c, DevAddress, MemAddress, 1, pData, 1, HAL_MAX_DELAY);
}

unsigned char RTC_get_SEC(void)
{
	unsigned char sec;

	RTC_i2c_read(&hi2c1, RTC_READ, RTC_SEC, &sec);
	sec = ((sec >> 4) & 0x07) * 10 + (sec & 0x0F);

	return sec;
}

unsigned char RTC_get_MIN(void)
{
	unsigned char min;

	RTC_i2c_read(&hi2c1, RTC_READ, RTC_MIN, &min);
	min = ((min >> 4) & 0x07) * 10 + (min & 0x0F);

	return min;
}

unsigned char RTC_get_HOUR(void)
{
	unsigned char hour;

	RTC_i2c_read(&hi2c1, RTC_READ, RTC_HOUR, &hour);
	if(RTC_get_FORMAT()=='1')
		hour = ((hour >> 4) & 0x01) * 10 + (hour & 0x0F);
	else if(RTC_get_FORMAT()=='2')
		hour = ((hour >> 4) & 0x03) * 10 + (hour & 0x0F);

	return hour;
}

unsigned char RTC_get_FORMAT(void)
{
	unsigned char hour, format;
	RTC_i2c_read(&hi2c1, RTC_READ, RTC_HOUR, &hour);
	format = (hour & 0x40) >> 6 ? '1':'2';

	return format;
}

unsigned char RTC_get_AMPM(void)
{
	unsigned char hour, ampm;

	if(RTC_get_FORMAT() == '1')
	{
		RTC_i2c_read(&hi2c1, RTC_READ, RTC_HOUR, &hour);
		ampm = (hour & 0x20) >> 5?'2':'1';
	}
	else
	{
		ampm = '0';
	}
	return ampm;
}

unsigned char RTC_get_DAY(void)
{
	unsigned char day;

	RTC_i2c_read(&hi2c1, RTC_READ, RTC_DAY, &day);
	day = (day & 0x07);

	return day;
}

unsigned char RTC_get_DATE(void)
{
	unsigned char date;

	RTC_i2c_read(&hi2c1, RTC_READ, RTC_DATE, &date);
	date = ((date >> 4) & 0x03) * 10 + (date & 0x0F);

	return date;
}

unsigned char RTC_get_MONTH(void)
{
	unsigned char month;

	RTC_i2c_read(&hi2c1, RTC_READ, RTC_MONTH, &month);
	month = ((month >> 4) & 0x01) * 10 + (month & 0x0F);

	return month;
}

unsigned char RTC_get_YEAR(void)
{
	unsigned char year;

	RTC_i2c_read(&hi2c1, RTC_READ, RTC_YEAR, &year);
	year = (year >> 4) * 10 + (year & 0x0F);

	return year;
}

void RTC_init(void)
{
	unsigned char data = 0x00;
	RTC_i2c_write(&hi2c1, RTC_WRITE, RTC_CONTROL, &data);
	RTC_i2c_write(&hi2c1, RTC_WRITE, RTC_SEC, &data);
}

void RTC_set_SEC(uint8_t data)
{
	if(data>59)
		data = data % 60;
	data = ( ( ( (data/10) % 10 ) << 4 ) & 0x70 ) + ( ( data % 10 ) & 0x0F );
	RTC_i2c_write(&hi2c1, RTC_READ, RTC_SEC, &data);
}
void RTC_set_MIN(uint8_t data)
{
	if(data>59)
		data = data % 60;
	data = ( ( ( (data/10) % 10 ) << 4 ) & 0xF0 ) + ( ( data % 10 ) & 0x0F );
	RTC_i2c_write(&hi2c1, RTC_READ, RTC_MIN, &data);
}

void RTC_set_HOUR(uint8_t data, unsigned char format, unsigned char ampm)
{
	if(format == '1')
	{
		if(data>12)
			data = data % 12;
		data = (1<<6) + ( ( ( (data/10) % 10 ) << 4 ) & 0x10 ) + ( ( data % 10 ) & 0x0F );
		RTC_i2c_write(&hi2c1, RTC_READ, RTC_HOUR, &data);

		RTC_set_AMPM(ampm);
	}
	else if(format == '2')
	{
		if(data>23)
			data = data % 24;
		data = ( ( ( (data/10) % 10 ) << 4 ) & 0x30 ) + ( ( data % 10 ) & 0x0F );
		RTC_i2c_write(&hi2c1, RTC_READ, RTC_HOUR, &data);
	}

}

void RTC_set_AMPM(unsigned char ampm)
{
	if(RTC_get_FORMAT() == '1')
	{
		uint8_t number;
		if(ampm == '1')	//AM
			number=0;
		else if(ampm == '2')	//PM
			number=1;
		unsigned char data;
		RTC_i2c_read(&hi2c1, RTC_READ, RTC_HOUR, &data);
		data = ((number<<5) & 0x20) | (data & 0xDF);
		RTC_i2c_write(&hi2c1, RTC_READ, RTC_HOUR, &data);
	}
}
void RTC_set_DAY(uint8_t data)
{
	if(data>7)
		data = data % 7 + 1;
	data =  ( data % 10 ) & 0x07 ;
	RTC_i2c_write(&hi2c1, RTC_READ, RTC_DAY, &data);
}
void RTC_set_DATE(uint8_t data)
{
	if(data>31)
		data = data % 31 + 1;
	data = ( ( ( (data/10) % 10 ) << 4 ) & 0x30 ) + ( ( data % 10 ) & 0x0F );
	RTC_i2c_write(&hi2c1, RTC_READ, RTC_DATE, &data);
}

void RTC_set_MONTH(uint8_t data)
{
	if(data>12)
		data = data % 12 + 1;
	data = ( ( ( (data/10) % 10 ) << 4 ) & 0x10 ) + ( ( data % 10 ) & 0x0F );
	RTC_i2c_write(&hi2c1, RTC_READ, RTC_MONTH, &data);
}
void RTC_set_YEAR(uint8_t data)
{
	if(data>99)
		data = data % 99 ;
	data = ( ( ( (data/10) % 10 ) << 4 ) & 0xF0 ) + ( ( data % 10 ) & 0x0F );
	RTC_i2c_write(&hi2c1, RTC_READ, RTC_YEAR, &data);
}

void project_displayTime(void)
{
	DS1307.sec = (uint8_t)RTC_get_SEC();
	DS1307.min = (uint8_t)RTC_get_MIN();
	DS1307.hour= (uint8_t)RTC_get_HOUR();

	DS1307.format	=	RTC_get_FORMAT();
	DS1307.ampm	=	RTC_get_AMPM();

	uint8_t hH= ((DS1307.hour)/10)%10;
	VFD_write(hH+'0');
	VFD_write(DS1307.hour%10+'0');
	VFD_write(':');

	uint8_t mH= ((DS1307.min)/10)%10;
	VFD_write(mH+'0');
	VFD_write(DS1307.min%10+'0');
	VFD_write(':');

	uint8_t sH= ((DS1307.sec)/10)%10;
	VFD_write(sH+'0');
	VFD_write(DS1307.sec%10+'0');

	if(DS1307.format == '1')
	{
		if(DS1307.ampm == '1')
			VFD_writeLine(" A.M.");
		else if(DS1307.ampm == '2')
			VFD_writeLine(" P.M.");
	}
}

void project_displayDay(void)
{
	DS1307.day	=	RTC_get_DAY();
	switch(DS1307.day)
	{
		case 1 : VFD_writeLine("Monday");
							break;
		case 2 : VFD_writeLine("Tuesday");
							break;
		case 3 : VFD_writeLine("Wednesday");
							break;
		case 4 : VFD_writeLine("Thursday");
							break;
		case 5 : VFD_writeLine("Friday");
							break;
		case 6 : VFD_writeLine("Saturday");
							break;
		case 7 : VFD_writeLine("Sunday");
							break;
	}
}

void project_displayDate(void)
{
	DS1307.date	=	RTC_get_DATE();
	DS1307.month=	RTC_get_MONTH();
	DS1307.year	=	RTC_get_YEAR();

	uint8_t hD= ((DS1307.date)/10)%10;
	VFD_write(hD+'0');
	VFD_write(DS1307.date%10+'0');
	VFD_write('/');

	uint8_t hM= ((DS1307.month)/10)%10;
	VFD_write(hM+'0');
	VFD_write(DS1307.month%10+'0');
	VFD_write('/');

	uint8_t hY= ((DS1307.year)/10)%10;
	VFD_write(hY+'0');
	VFD_write(DS1307.year%10+'0');
}

/* USER CODE END 4 */

void _Error_Handler(char * file, int line)
{
  while(1)
  {
  }
}

/************************ (C) COPYRIGHT STMicroelectronics *****END OF FILE****/
